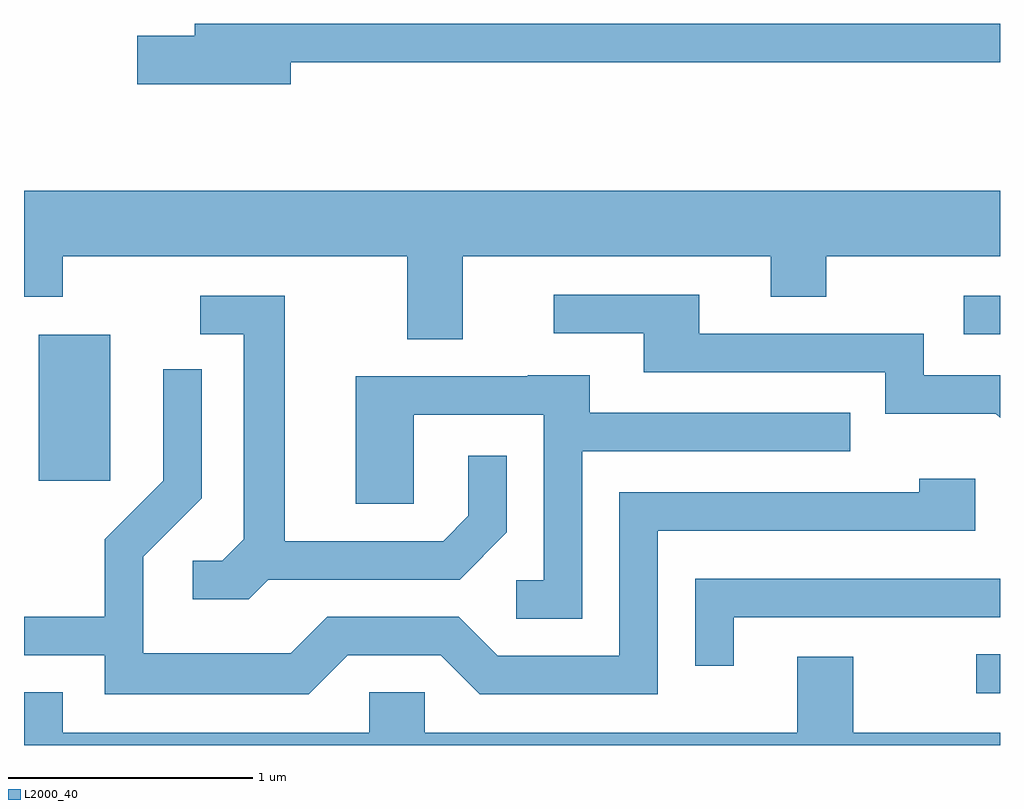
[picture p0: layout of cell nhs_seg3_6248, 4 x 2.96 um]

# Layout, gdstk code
import gdstk
lib = gdstk.Library(unit=1e-6, precision=1e-09)
def R(c, l, rs):  # rectangles x0, y0, x1, y1
    for r in rs: c.add(gdstk.rectangle(r[:2], r[2:], *l))
def P(c, l, *ps):  # polygons
    for p in ps: c.add(gdstk.Polygon(p, *l))
L2000_40 = (2000, 40)

nhs_seg3_6248 = lib.new_cell('nhs_seg3_6248')
R(nhs_seg3_6248, L2000_40, [(371.513,1244.106,371.611,1244.264), (367.671,1244.976,367.964,1245.574), (371.463,1245.576,371.611,1245.734)])
P(nhs_seg3_6248, L2000_40, [(368.704,1246.691),(371.611,1246.691),(371.611,1246.849),(368.311,1246.849),(368.311,1246.799),(368.076,1246.799),(368.076,1246.601),(368.704,1246.601)],
  [(369.409,1245.896),(370.671,1245.896),(370.671,1245.731),(370.899,1245.731),(370.899,1245.896),(371.611,1245.896),(371.611,1246.164),(367.611,1246.164),(367.611,1245.731),(367.769,1245.731),(367.769,1245.896),(369.181,1245.896),(369.181,1245.556),(369.409,1245.556)],
  [(371.611,1245.409),(371.299,1245.409),(371.299,1245.579),(370.379,1245.579),(370.379,1245.739),(369.783,1245.739),(369.783,1245.581),(370.151,1245.581),(370.151,1245.421),(371.141,1245.421),(371.141,1245.251),(371.594,1245.251),(371.611,1245.234)],
  [(368.612,1244.571),(369.397,1244.571),(369.589,1244.764),(369.589,1245.078),(369.431,1245.078),(369.431,1244.832),(369.329,1244.729),(368.679,1244.729),(368.679,1245.734),(368.333,1245.734),(368.333,1245.576),(368.511,1245.576),(368.511,1244.737),(368.424,1244.649),(368.303,1244.649),(368.303,1244.491),(368.532,1244.491)],
  [(368.937,1244.261),(369.319,1244.261),(369.479,1244.101),(370.209,1244.101),(370.209,1244.771),(371.509,1244.771),(371.509,1244.984),(371.281,1244.984),(371.281,1244.929),(370.051,1244.929),(370.051,1244.259),(369.552,1244.259),(369.392,1244.419),(368.854,1244.419),(368.704,1244.269),(368.099,1244.269),(368.099,1244.664),(368.339,1244.904),(368.339,1245.433),(368.181,1245.433),(368.181,1244.977),(367.941,1244.737),(367.941,1244.419),(367.611,1244.419),(367.611,1244.261),(367.941,1244.261),(367.941,1244.101),(368.777,1244.101)],
  [(369.899,1245.096),(370.998,1245.096),(370.998,1245.254),(369.929,1245.254),(369.929,1245.409),(369.675,1245.409),(369.675,1245.404),(368.971,1245.404),(368.971,1244.881),(369.209,1244.881),(369.209,1245.246),(369.741,1245.246),(369.741,1244.569),(369.628,1244.569),(369.628,1244.411),(369.899,1244.411)],
  [(370.519,1244.416),(371.611,1244.416),(371.611,1244.574),(370.361,1244.574),(370.361,1244.218),(370.519,1244.218)],
  [(371.611,1243.944),(371.009,1243.944),(371.009,1244.254),(370.781,1244.254),(370.781,1243.944),(369.254,1243.944),(369.254,1244.109),(369.026,1244.109),(369.026,1243.944),(367.769,1243.944),(367.769,1244.109),(367.611,1244.109),(367.611,1243.892),(371.611,1243.892)])

lib.write_gds('nhs_seg3_6248.gds')
